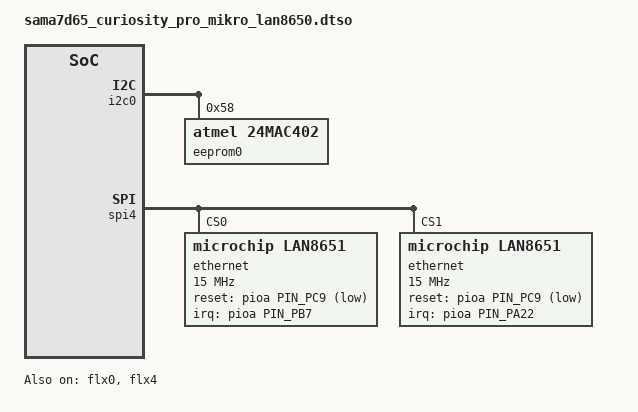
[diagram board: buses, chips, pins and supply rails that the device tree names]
// SPDX-License-Identifier: (GPL-2.0+ OR MIT)
/*
 * Device Tree file for SAMA7D65-CURIOSITY-PRO board
 * overlay blob for the Two-Wire ETH Click board ()
 * Mikroe Proto board.
 *
 * Copyright (C) 2026 Microchip Technology Inc. and its subsidiaries
 *
 * Author: Ryan Wanner <ryan.wanner@microchip.com>
 *
 */
/dts-v1/;
/plugin/;
#include "sama7d65-pinfunc.h"
#include <dt-bindings/clock/at91.h>
#include <dt-bindings/mfd/atmel-flexcom.h>
#include <dt-bindings/gpio/gpio.h>
#include <dt-bindings/interrupt-controller/irq.h>

/*
 * Disable the adc as pin PB7 is needed for MikroBUS 1 IRQ signal
 * and causes pin muxing conflicts.
 */
&adc {
	status = "disabled";
};

&flx0 {
	atmel,flexcom-mode = <ATMEL_FLEXCOM_MODE_TWI>;
	status = "okay";
};

&flx4 {
	atmel,flexcom-mode = <ATMEL_FLEXCOM_MODE_SPI>;
	status = "okay";
};

/* mikroBUS I2C interface */
&i2c0 {
	#address-cells = <1>;
	#size-cells = <0>;
	pinctrl-names = "default";
	pinctrl-0 = <&pinctrl_i2c0_default>;
	status = "okay";

	/* Provides MAC address. */
	eeprom0: eeprom@58 {
		compatible = "atmel,24mac402", "atmel,24c02";
		reg = <0x58>;
		read-only;

		nvmem-layout {
			compatible = "fixed-layout";
			#address-cells = <1>;
			#size-cells = <1>;
			eeprom0_eui48: eui48@9a {
				reg = <0x9a 0x6>;
			};
		};
	};
};

&pioa {
	pinctrl_i2c0_default: i2c0-default {
		pinmux = <PIN_PC7__FLEXCOM0_IO0>,
			 <PIN_PC6__FLEXCOM0_IO1>;
		bias-disable;
	};

	pinctrl_mikro1_irq: mikrobus1-irq {
		pinmux = <PIN_PB7__GPIO>;
		bias-disable;
	};

	pinctrl_mikro2_irq: mikrobus2-irq {
		pinmux = <PIN_PA22__GPIO>;
		bias-disable;
	};

	pinctrl_spi4_default: spi4-default{
		pinmux = <PIN_PA18__FLEXCOM4_IO0>,	/* MOSI */
			 <PIN_PA17__FLEXCOM4_IO1>,	/* MISO */
			 <PIN_PA16__FLEXCOM4_IO2>,	/* SPCK */
			 <PIN_PA15__FLEXCOM4_IO3>,	/* CS0 */
			 <PIN_PA14__FLEXCOM4_IO4>,	/* CS1 */
			 <PIN_PA19__FLEXCOM4_IO5>,	/* CS2 */
			 <PIN_PA20__FLEXCOM4_IO6>;	/* CS3 */
		bias-disable;
	};
};

&spi4 {
	#address-cells = <1>;
	#size-cells = <0>;
	pinctrl-names = "default";
	pinctrl-0 = <&pinctrl_spi4_default>;
	status = "okay";

	ethernet@0 {
		compatible = "microchip,lan8651", "microchip,lan8650";
		reg = <0>;
		pinctrl-names = "default";
		pinctrl-0 = <&pinctrl_mikro1_irq>;
		interrupt-parent = <&pioa>;
		interrupts = <PIN_PB7 IRQ_TYPE_LEVEL_LOW>;
		reset-gpio = <&pioa PIN_PC9 GPIO_ACTIVE_LOW>;
		nvmem-cells = <&eeprom0_eui48>;
		nvmem-cell-names = "mac-address";
		max-speed = <10>;
		managed = "in-band-status";
		spi-max-frequency = <15000000>;
		status = "okay";
	};

	ethernet@1 {
		compatible = "microchip,lan8651", "microchip,lan8650";
		reg = <1>;
		pinctrl-names = "default";
		pinctrl-0 = <&pinctrl_mikro2_irq>;
		interrupt-parent = <&pioa>;
		interrupts = <PIN_PA22 IRQ_TYPE_LEVEL_LOW>;
		reset-gpio = <&pioa PIN_PC9 GPIO_ACTIVE_LOW>;
		max-speed = <10>;
		managed = "in-band-status";
		spi-max-frequency = <15000000>;
		status = "okay";
	};
};
